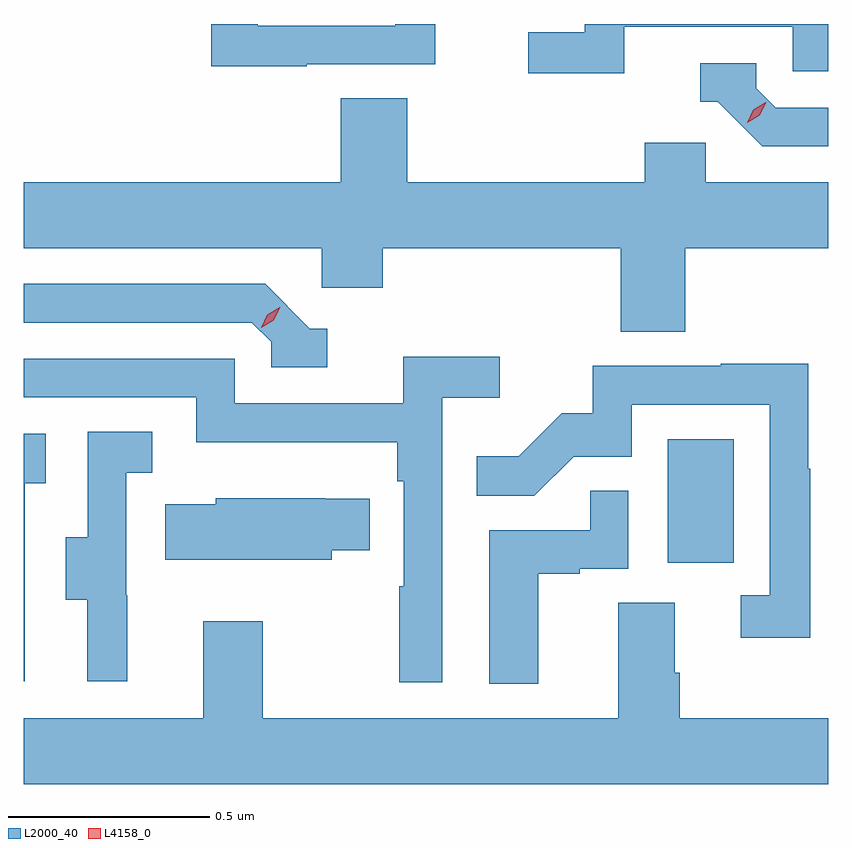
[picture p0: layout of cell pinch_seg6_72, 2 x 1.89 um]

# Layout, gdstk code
import gdstk
lib = gdstk.Library(unit=1e-6, precision=1e-09)
def R(c, l, rs):  # rectangles x0, y0, x1, y1
    for r in rs: c.add(gdstk.rectangle(r[:2], r[2:], *l))
def P(c, l, *ps):  # polygons
    for p in ps: c.add(gdstk.Polygon(p, *l))
L2000_40 = (2000, 40)
L4158_0 = (4158, 0)

pinch_seg6_72 = lib.new_cell('pinch_seg6_72')
R(pinch_seg6_72, L2000_40, [(895.076,926.574,895.24,926.881)])
P(pinch_seg6_72, L2000_40, [(894.968,927.906),(895.386,927.906),(895.386,927.795),(895.475,927.795),(895.475,927.913),(894.87,927.913),(894.87,927.892),(894.729,927.892),(894.729,927.79),(894.968,927.79)],
  [(894.179,927.813),(894.498,927.813),(894.498,927.913),(894.399,927.913),(894.399,927.909),(894.057,927.909),(894.057,927.913),(893.941,927.913),(893.941,927.808),(894.179,927.808)],
  [(895.475,927.705),(895.344,927.705),(895.296,927.753),(895.296,927.816),(895.157,927.816),(895.157,927.72),(895.2,927.72),(895.311,927.609),(895.475,927.609)],
  [(895.119,927.356),(895.475,927.356),(895.475,927.52),(895.17,927.52),(895.17,927.618),(895.019,927.618),(895.019,927.52),(894.428,927.52),(894.428,927.728),(894.263,927.728),(894.263,927.52),(893.475,927.52),(893.475,927.356),(894.216,927.356),(894.216,927.258),(894.368,927.258),(894.368,927.356),(894.959,927.356),(894.959,927.148),(895.119,927.148)],
  [(894.229,927.156),(894.186,927.156),(894.075,927.267),(893.475,927.267),(893.475,927.171),(894.042,927.171),(894.09,927.123),(894.09,927.06),(894.229,927.06)],
  [(894.516,926.984),(894.658,926.984),(894.658,927.086),(894.419,927.086),(894.419,926.97),(894,926.97),(894,927.081),(893.475,927.081),(893.475,926.985),(893.904,926.985),(893.904,926.873),(894.403,926.873),(894.403,926.777),(894.42,926.777),(894.42,926.516),(894.408,926.516),(894.408,926.277),(894.516,926.277)],
  [(895.43,926.807),(895.425,926.807),(895.425,927.068),(895.207,927.068),(895.207,927.063),(894.889,927.063),(894.889,926.946),(894.812,926.946),(894.705,926.839),(894.601,926.839),(894.601,926.74),(894.744,926.74),(894.842,926.838),(894.987,926.838),(894.987,926.967),(895.329,926.967),(895.329,926.493),(895.257,926.493),(895.257,926.388),(895.43,926.388)],
  [(893.732,926.493),(893.73,926.493),(893.73,926.797),(893.794,926.797),(893.794,926.9),(893.634,926.9),(893.634,926.637),(893.579,926.637),(893.579,926.482),(893.633,926.482),(893.633,926.28),(893.732,926.28)],
  [(893.478,926.771),(893.53,926.771),(893.53,926.895),(893.475,926.895),(893.475,926.28),(893.478,926.28)],
  [(894.754,926.547),(894.857,926.547),(894.857,926.559),(894.978,926.559),(894.978,926.753),(894.883,926.753),(894.883,926.655),(894.632,926.655),(894.632,926.273),(894.754,926.273)],
  [(894.241,926.605),(894.335,926.605),(894.335,926.733),(894.224,926.733),(894.224,926.734),(893.952,926.734),(893.952,926.719),(893.827,926.719),(893.827,926.582),(894.241,926.582)],
  [(895.475,926.188),(895.106,926.188),(895.106,926.3),(895.093,926.3),(895.093,926.474),(894.953,926.474),(894.953,926.188),(894.069,926.188),(894.069,926.428),(893.921,926.428),(893.921,926.188),(893.475,926.188),(893.475,926.024),(895.475,926.024)])
P(pinch_seg6_72, L4158_0, [(895.273,927.667),(895.273,927.667),(895.289,927.7),(895.32,927.719),(895.321,927.719),(895.321,927.719),(895.304,927.686),(895.273,927.667)],
  [(894.065,927.158),(894.065,927.158),(894.081,927.19),(894.112,927.209),(894.113,927.209),(894.113,927.209),(894.096,927.177),(894.065,927.158)])

lib.write_gds('pinch_seg6_72.gds')
